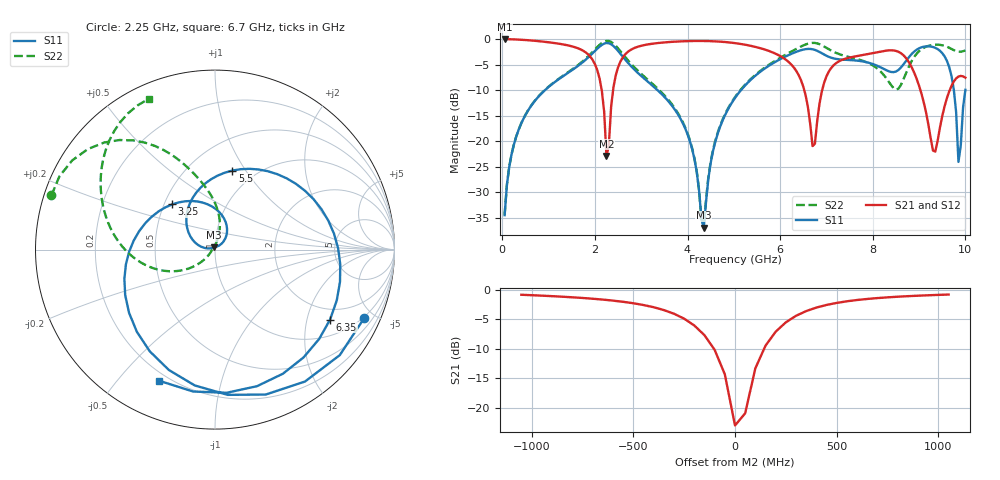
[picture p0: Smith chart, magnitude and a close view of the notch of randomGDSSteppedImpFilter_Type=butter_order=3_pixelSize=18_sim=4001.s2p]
! freq	dB(S11)	phase(S11)	dB(S12)	phase(S12)
!  dB(S21)	phase(S21)	dB(S22)	phase(S22)
!S-par simulation data
#  GHz  S  DB  R 50
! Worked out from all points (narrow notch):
!   200 points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, 50 MHz to 10 GHz, reference 50 ohm
!   highest |S21| = -0.01 dB at 50 MHz (marker M1); lowest = -22.9 dB at 2.25 GHz (marker M2)
!   notch at M2: 20.6 dB deep, 179 MHz wide at half that depth
!   lowest |S11| = -37.0 dB at 4.35 GHz (marker M3), VSWR 1.03, Z = 49.3 + j1.19 ohm
!   |S11| at or under -10 dB: start of sweep to 923.8 MHz; 3.35 GHz to 5.155 GHz (1.806 GHz wide, 42.5 % of centre); 9.751 GHz to 9.999 GHz (248.3 MHz wide, 2.51 % of centre)
!   |S22| runs from -36.6 to -0.4 dB; largest |S21 - S12| = 0
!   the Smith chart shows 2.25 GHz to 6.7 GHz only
!   S11 on the Smith chart (normalised r, x): 2.25 GHz: 0.94, -4.38; 3.25 GHz: 0.55, +0.32; 5.5 GHz: 0.79, +0.87; 6.35 GHz: 1.56, -2.78; 6.7 GHz: 0.16, -0.65
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0.05  -34.54 -94.2  -0.01 -3.3  -0.01 -3.3  -34.51 -91.9
0.45  -15.76 -129.7  -0.16 -29.2  -0.16 -29.2  -15.72 -109.6
1.75  -4.44 90.9  -2.31 -121.9  -2.31 -121.9  -4.25 -157.2
2.1  -1.49 18.9  -7.71 -165.8  -7.71 -165.8  -1.14 180.0
2.25  -0.78 -24.7  -22.94 -164.4  -22.94 -164.4  -0.35 161.6
2.65  -3.99 -133.5  -3.04 -98.9  -3.04 -98.9  -3.50 120.2
3.25  -9.19 133.4  -0.90 -154.2  -0.90 -154.2  -8.84 99.5
3.4  -10.43 115.9  -0.74 -165.3  -0.74 -165.3  -10.10 95.1
4.05  -20.00 50.9  -0.39 149.2  -0.39 149.2  -19.81 76.1
4.35  -36.98 121.2  -0.38 128.1  -0.38 128.1  -36.63 166.4
5.05  -11.23 123.1  -0.83 77.6  -0.83 77.6  -11.06 -154.4
5.5  -6.92 77.6  -1.62 43.7  -1.62 43.7  -6.76 -174.9
6.35  -2.50 -31.3  -6.28 -30.2  -6.28 -30.2  -1.92 140.9
6.7  -2.00 -113.1  -20.99 -28.0  -20.99 -28.0  -0.75 113.7
6.9  -2.78 -175.6  -10.26 35.2  -10.26 35.2  -1.22 96.3
7.2  -3.88 102.2  -4.78 -3.0  -4.78 -3.0  -2.69 79.0
8.35  -6.33 -13.2  -2.21 -114.3  -2.21 -114.3  -8.43 -27.6
8.9  -2.41 -23.9  -6.71 165.6  -6.71 165.6  -3.44 151.2
9.35  -1.72 -69.4  -22.07 -163.5  -22.07 -163.5  -1.11 86.8
9.7  -7.25 -122.4  -9.18 -156.4  -9.18 -156.4  -1.93 58.8
9.85  -24.08 178.1  -7.35 175.5  -7.35 175.5  -2.48 54.6
10  -9.95 9.4  -7.58 147.8  -7.58 147.8  -2.23 52.2
